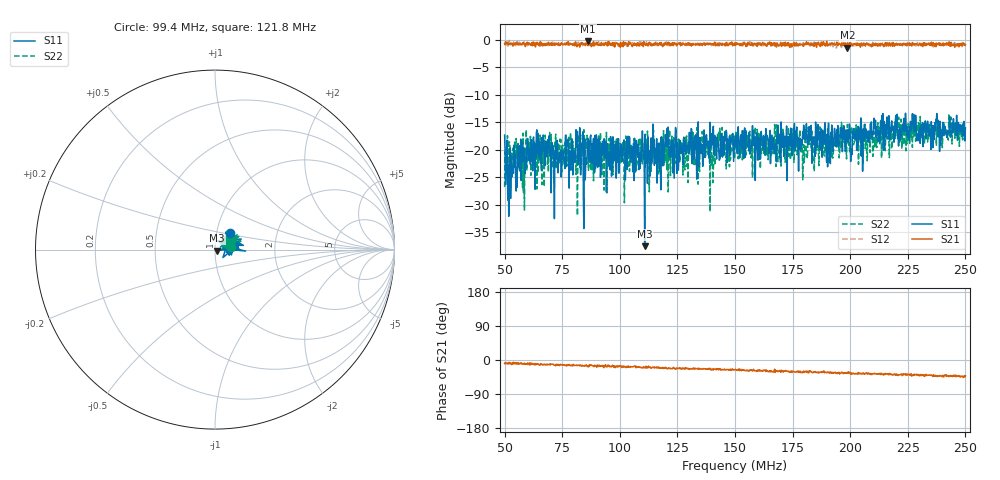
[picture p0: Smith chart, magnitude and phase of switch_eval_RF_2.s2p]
!Keysight Technologies N9923A: A.08.18
!Date: Thursday, 04 February 2021 21:42:43
!Timezone: (GMT-04:00) Georgetown, La Paz, Manaus, San Juan
!Model: N9923A
!Serial: MY52411941
!GPS Latitude:
!GPS Longitude:
!GPS TimeStamp: 0001-01-01 00:00:00Z
!GPS Seconds Since Last Read: 0
!CHECKSUM:0021435010
!Correction: S11(ON U)S21(ON U)S12(ON U)S22(ON U)
!S2P File: Measurements:S11,S21,S12,S22:
# Hz S DB R 50
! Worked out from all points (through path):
!   1001 points, 50 MHz to 250 MHz, reference 50 ohm
!   highest |S21| = -0.26 dB at 86.2 MHz (marker M1); lowest = -1.4 dB at 198.8 MHz (marker M2)
!   group delay of S21, straight-line fit = 483 ps
!   lowest |S11| = -37.6 dB at 110.8 MHz (marker M3), VSWR 1.03, Z = 51.2 - j0.637 ohm
!   |S11| at or under -10 dB: start of sweep to end of sweep
!   |S22| runs from -32.0 to -13.7 dB; largest |S21 - S12| = 0.1
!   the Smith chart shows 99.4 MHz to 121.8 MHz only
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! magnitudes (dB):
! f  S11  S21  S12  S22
! 50 MHz  -17.3  -0.7  -0.8  -26.8
! 51.2 MHz  -23.4  -0.5  -0.7  -17.4
! 52.4 MHz  -19.7  -0.7  -0.8  -20.3
! 64.4 MHz  -18.9  -0.8  -0.8  -24.2
! 71.2 MHz  -19.4  -0.8  -0.8  -22.2
! 81.8 MHz  -22.7  -1.0  -0.8  -21.6
! 83.4 MHz  -19.1  -0.5  -0.9  -21.6
! 86.2 MHz  -18.1  -0.3  -1.1  -17.9
! 110.8 MHz  -37.6  -0.7  -0.9  -18.4
! 116.8 MHz  -19.0  -1.0  -0.7  -24.4
! 120.2 MHz  -19.4  -0.9  -0.4  -20.2
! 122.8 MHz  -18.4  -1.0  -1.0  -20.2
! 131.2 MHz  -16.3  -0.7  -0.7  -20.4
! 133.6 MHz  -19.1  -0.8  -0.9  -21.4
! 136.4 MHz  -19.1  -0.6  -0.7  -19.2
! 140.2 MHz  -18.2  -0.7  -0.9  -21.1
! 143.4 MHz  -21.7  -0.6  -0.6  -16.1
! 150 MHz  -19.5  -0.5  -0.6  -17.8
! 183.4 MHz  -22.5  -1.0  -0.6  -16.6
! 198.8 MHz  -17.1  -1.4  -0.6  -15.4
! 216.8 MHz  -13.8  -0.6  -0.8  -18.2
! 250 MHz  -16.0  -0.9  -1.3  -17.5
